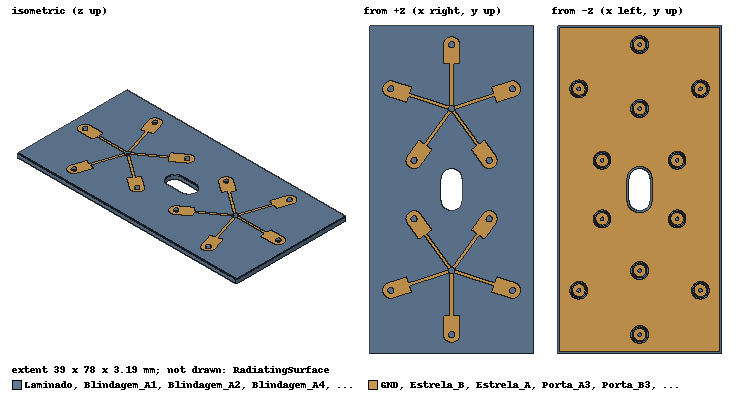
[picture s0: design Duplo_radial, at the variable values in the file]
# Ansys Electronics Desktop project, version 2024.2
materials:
  vacuum: permittivity=1
  ZYF300CA_P: permittivity=3 dielectric_loss_tangent=0.0018
  SAC305: permeability=1 conductivity=7575758
  PTFE_UT141: permittivity=2.036 dielectric_loss_tangent=0.0002
  copper: permeability=0.999991 conductivity=58000000

design Duplo_radial (HFSS, HFSS Hybrid Modal Network, model units mm)
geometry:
  Laminado [ZYF300CA_P] = box(corner=(-19.5mm, -39mm, 0mm), size=(39mm, 78mm, 1.52mm))
  GND = polyline(z=0mm, xy in mm: (-18.98, -38.48) (18.98, -38.48) (18.98, 38.48) (-18.98, 38.48) (-18.98, -38.48), closed, covered)
  Estrela_B = polyline(z=1.52mm, xy in mm: (-7.97933583, 5.29883316) (-8.20341048, 5.18833178) (-8.43999146, 5.10802336) (-8.68503081, 5.059282) (-8.93433583, 5.04294169) (-9.18364086, 5.059282) (-9.42868021, 5.10802336) (-9.66526119, 5.18833178) (-9.88933583, 5.29883316) (-10.09707016, 5.43763681) (-10.28490979, 5.60236773) (-10.44964071, 5.79020736) (-10.58844436, 5.99794169) (-10.69894574, 6.22201633) (-10.77925416, 6.45859731) (-10.82799552, 6.70363666) (-10.84433583, 6.95294169) (-10.82799552, 7.20224671) (-10.77925416, 7.44728606) (-10.69894574, 7.68386704) (-10.58844436, 7.90794169) (-10.47743953, 8.07407215) (-10.47955829, 8.07561152) (-7.79220412, 11.77443722) (-6.54146385, 10.86572122) (-0.7518818, 18.83439728) (-0.7945364, 18.92089225) (-0.83069621, 19.02741562) (-0.85264258, 19.13774747) (-0.85308194, 19.14445088) (-10.22031084, 22.18804804) (-10.69805111, 20.71771467) (-15.04628151, 22.13054037) (-15.04506826, 22.13427437) (-15.1869844, 22.18244841) (-15.41105905, 22.29294979) (-15.61879338, 22.43175343) (-15.806633, 22.59648436) (-15.97136393, 22.78432399) (-16.11016757, 22.99205831) (-16.22066895, 23.21613296) (-16.30097738, 23.45271394) (-16.34971873, 23.69775329) (-16.36605905, 23.94705831) (-16.34971873, 24.19636334) (-16.30097738, 24.44140269) (-16.22066895, 24.67798367) (-16.11016757, 24.90205831) (-15.97136393, 25.10979264) (-15.806633, 25.29763227) (-15.61879338, 25.46236319) (-15.41105905, 25.60116684) (-15.1869844, 25.71166822) (-14.95040342, 25.79197664) (-14.70536407, 25.840718) (-14.45605905, 25.85705831) (-14.20675402, 25.840718) (-13.96171467, 25.79197664) (-13.86704984, 25.75984226) (-13.86583659, 25.76357626) (-9.5176062, 24.35075056) (-9.99534647, 22.88041719) (-0.62707992, 19.83648287) (-0.60811183, 19.85811183) (-0.52353483, 19.93228387) (-0.43, 19.99478185) (-0.364, 20.02732945) (-0.364, 29.878) (-1.91, 29.878) (-1.91, 34.45) (-1.89365969, 34.69930503) (-1.84491833, 34.94434438) (-1.76460991, 35.18092536) (-1.65410852, 35.405) (-1.51530488, 35.61273433) (-1.35057395, 35.80057395) (-1.16273433, 35.96530488) (-0.955, 36.10410852) (-0.73092536, 36.21460991) (-0.49434438, 36.29491833) (-0.24930503, 36.34365969) (0, 36.36) (0.24930503, 36.34365969) (0.49434438, 36.29491833) (0.73092536, 36.21460991) (0.955, 36.10410852) (1.16273433, 35.96530488) (1.35057395, 35.80057395) (1.51530488, 35.61273433) (1.65410852, 35.405) (1.76460991, 35.18092536) (1.84491833, 34.94434438) (1.89365969, 34.69930503) (1.91, 34.45) (1.91, 29.878) (0.364, 29.878) (0.364, 20.02732945) (0.43, 19.99478185) (0.52353483, 19.93228387) (0.60811183, 19.85811183) (0.62707992, 19.83648287) (9.99534647, 22.88041719) (9.5176062, 24.35075056) (13.86583659, 25.76357626) (13.86704984, 25.75984226) (13.96171467, 25.79197664) (14.20675402, 25.840718) (14.45605905, 25.85705831) (14.70536407, 25.840718) (14.95040342, 25.79197664) (15.1869844, 25.71166822) (15.41105905, 25.60116684) (15.61879338, 25.46236319) (15.806633, 25.29763227) (15.97136393, 25.10979264) (16.11016757, 24.90205831) (16.22066895, 24.67798367) (16.30097738, 24.44140269) (16.34971873, 24.19636334) (16.36605905, 23.94705831) (16.34971873, 23.69775329) (16.30097738, 23.45271394) (16.22066895, 23.21613296) (16.11016757, 22.99205831) (15.97136393, 22.78432399) (15.806633, 22.59648436) (15.61879338, 22.43175343) (15.41105905, 22.29294979) (15.1869844, 22.18244841) (15.04506826, 22.13427437) (15.04628151, 22.13054037) (10.69805111, 20.71771467) (10.22031084, 22.18804804) (0.85308194, 19.14445088) (0.85264258, 19.13774747) (0.83069621, 19.02741562) (0.7945364, 18.92089225) (0.7518818, 18.83439728) (6.54146385, 10.86572122) (7.79220412, 11.77443722) (10.47955829, 8.07561152) (10.47743953, 8.07407215) (10.58844436, 7.90794169) (10.69894574, 7.68386704) (10.77925416, 7.44728606) (10.82799552, 7.20224671) (10.84433583, 6.95294169) (10.82799552, 6.70363666) (10.77925416, 6.45859731) (10.69894574, 6.22201633) (10.58844436, 5.99794169) (10.44964071, 5.79020736) (10.28490979, 5.60236773) (10.09707016, 5.43763681) (9.88933583, 5.29883316) (9.66526119, 5.18833178) (9.42868021, 5.10802336) (9.18364086, 5.059282) (8.93433583, 5.04294169) (8.68503081, 5.059282) (8.43999146, 5.10802336) (8.20341048, 5.18833178) (7.97933583, 5.29883316) (7.77160151, 5.43763681) (7.58376188, 5.60236773) (7.41903095, 5.79020736) (7.39123214, 5.83181122) (7.38911338, 5.83027185) (4.7017592, 9.52909755) (5.95249948, 10.43781355) (0.1623171, 18.40731588) (0.11225253, 18.39735742) (0, 18.39) (-0.11225253, 18.39735742) (-0.1623171, 18.40731588) (-5.95249948, 10.43781355) (-4.7017592, 9.52909755) (-7.38911338, 5.83027185) (-7.39123214, 5.83181122) (-7.41903095, 5.79020736) (-7.58376188, 5.60236773) (-7.77160151, 5.43763681) (-7.97933583, 5.29883316), closed, covered)
  Estrela_A = polyline(z=1.52mm, xy in mm: (-0.364, -20.02732945) (-0.43, -19.99478185) (-0.52353483, -19.93228387) (-0.60811183, -19.85811183) (-0.62707992, -19.83648287) (-9.99534647, -22.88041719) (-9.5176062, -24.35075056) (-13.86583659, -25.76357626) (-13.86704984, -25.75984226) (-13.96171467, -25.79197664) (-14.20675402, -25.840718) (-14.45605905, -25.85705831) (-14.70536407, -25.840718) (-14.95040342, -25.79197664) (-15.1869844, -25.71166822) (-15.41105905, -25.60116684) (-15.61879338, -25.46236319) (-15.806633, -25.29763227) (-15.97136393, -25.10979264) (-16.11016757, -24.90205831) (-16.22066895, -24.67798367) (-16.30097738, -24.44140269) (-16.34971873, -24.19636334) (-16.36605905, -23.94705831) (-16.34971873, -23.69775329) (-16.30097738, -23.45271394) (-16.22066895, -23.21613296) (-16.11016757, -22.99205831) (-15.97136393, -22.78432399) (-15.806633, -22.59648436) (-15.61879338, -22.43175343) (-15.41105905, -22.29294979) (-15.1869844, -22.18244841) (-15.04506826, -22.13427437) (-15.04628151, -22.13054037) (-10.69805111, -20.71771467) (-10.22031084, -22.18804804) (-0.85308194, -19.14445088) (-0.85264258, -19.13774747) (-0.83069621, -19.02741562) (-0.7945364, -18.92089225) (-0.7518818, -18.83439728) (-6.54146385, -10.86572122) (-7.79220412, -11.77443722) (-10.47955829, -8.07561152) (-10.47743953, -8.07407215) (-10.58844436, -7.90794169) (-10.69894574, -7.68386704) (-10.77925416, -7.44728606) (-10.82799552, -7.20224671) (-10.84433583, -6.95294169) (-10.82799552, -6.70363666) (-10.77925416, -6.45859731) (-10.69894574, -6.22201633) (-10.58844436, -5.99794169) (-10.44964071, -5.79020736) (-10.28490979, -5.60236773) (-10.09707016, -5.43763681) (-9.88933583, -5.29883316) (-9.66526119, -5.18833178) (-9.42868021, -5.10802336) (-9.18364086, -5.059282) (-8.93433583, -5.04294169) (-8.68503081, -5.059282) (-8.43999146, -5.10802336) (-8.20341048, -5.18833178) (-7.97933583, -5.29883316) (-7.77160151, -5.43763681) (-7.58376188, -5.60236773) (-7.41903095, -5.79020736) (-7.39123214, -5.83181122) (-7.38911338, -5.83027185) (-4.7017592, -9.52909755) (-5.95249948, -10.43781355) (-0.1623171, -18.40731588) (-0.11225253, -18.39735742) (0, -18.39) (0.11225253, -18.39735742) (0.1623171, -18.40731588) (5.95249948, -10.43781355) (4.7017592, -9.52909755) (7.38911338, -5.83027185) (7.39123214, -5.83181122) (7.41903095, -5.79020736) (7.58376188, -5.60236773) (7.77160151, -5.43763681) (7.97933583, -5.29883316) (8.20341048, -5.18833178) (8.43999146, -5.10802336) (8.68503081, -5.059282) (8.93433583, -5.04294169) (9.18364086, -5.059282) (9.42868021, -5.10802336) (9.66526119, -5.18833178) (9.88933583, -5.29883316) (10.09707016, -5.43763681) (10.28490979, -5.60236773) (10.44964071, -5.79020736) (10.58844436, -5.99794169) (10.69894574, -6.22201633) (10.77925416, -6.45859731) (10.82799552, -6.70363666) (10.84433583, -6.95294169) (10.82799552, -7.20224671) (10.77925416, -7.44728606) (10.69894574, -7.68386704) (10.58844436, -7.90794169) (10.47743953, -8.07407215) (10.47955829, -8.07561152) (7.79220412, -11.77443722) (6.54146385, -10.86572122) (0.7518818, -18.83439728) (0.7945364, -18.92089225) (0.83069621, -19.02741562) (0.85264258, -19.13774747) (0.85308194, -19.14445088) (10.22031084, -22.18804804) (10.69805111, -20.71771467) (15.04628151, -22.13054037) (15.04506826, -22.13427437) (15.1869844, -22.18244841) (15.41105905, -22.29294979) (15.61879338, -22.43175343) (15.806633, -22.59648436) (15.97136393, -22.78432399) (16.11016757, -22.99205831) (16.22066895, -23.21613296) (16.30097738, -23.45271394) (16.34971873, -23.69775329) (16.36605905, -23.94705831) (16.34971873, -24.19636334) (16.30097738, -24.44140269) (16.22066895, -24.67798367) (16.11016757, -24.90205831) (15.97136393, -25.10979264) (15.806633, -25.29763227) (15.61879338, -25.46236319) (15.41105905, -25.60116684) (15.1869844, -25.71166822) (14.95040342, -25.79197664) (14.70536407, -25.840718) (14.45605905, -25.85705831) (14.20675402, -25.840718) (13.96171467, -25.79197664) (13.86704984, -25.75984226) (13.86583659, -25.76357626) (9.5176062, -24.35075056) (9.99534647, -22.88041719) (0.62707992, -19.83648287) (0.60811183, -19.85811183) (0.52353483, -19.93228387) (0.43, -19.99478185) (0.364, -20.02732945) (0.364, -29.878) (1.91, -29.878) (1.91, -34.45) (1.89365969, -34.69930503) (1.84491833, -34.94434438) (1.76460991, -35.18092536) (1.65410852, -35.405) (1.51530488, -35.61273433) (1.35057395, -35.80057395) (1.16273433, -35.96530488) (0.955, -36.10410852) (0.73092536, -36.21460991) (0.49434438, -36.29491833) (0.24930503, -36.34365969) (0, -36.36) (-0.24930503, -36.34365969) (-0.49434438, -36.29491833) (-0.73092536, -36.21460991) (-0.955, -36.10410852) (-1.16273433, -35.96530488) (-1.35057395, -35.80057395) (-1.51530488, -35.61273433) (-1.65410852, -35.405) (-1.76460991, -35.18092536) (-1.84491833, -34.94434438) (-1.89365969, -34.69930503) (-1.91, -34.45) (-1.91, -29.878) (-0.364, -29.878) (-0.364, -20.02732945), closed, covered)
  Abertura_A_IN = circle(normal=Z, centre=(0mm, -19.25mm, 0mm), radius=1.515mm, segments=24)
  Pino_A_IN [copper] = cylinder(axis=Z, base_centre=(0mm, -19.25mm, 0mm), radius=0.525mm, height=1.52mm, segments=24)
  Anel_A_IN = circle(normal=Z, centre=(0mm, -19.25mm, 0mm), radius=0.73mm, segments=24)
  Blindagem_A_IN [copper] = cylinder(axis=Z, base_centre=(0mm, -19.25mm, -1.5mm), radius=1.7905mm, height=1.5mm, segments=24)
  PTFE_A_IN [PTFE_UT141] = cylinder(axis=Z, base_centre=(0mm, -19.25mm, -1.5mm), radius=1.515mm, height=1.5mm, segments=24)
  PTFE_A_IN_1 = PTFE_A_IN.copy()
  Blindagem_A_IN.subtract(PTFE_A_IN_1)
  Central_A_IN [copper] = cylinder(axis=Z, base_centre=(0mm, -19.25mm, -1.5mm), radius=0.45975mm, height=1.5mm, segments=24)
  Central_A_IN_1 = Central_A_IN.copy()
  PTFE_A_IN.subtract(Central_A_IN_1)
  Solda_ext_A_IN [SAC305] = cylinder(axis=Z, base_centre=(0mm, -19.25mm, -0.18mm), radius=2.13mm, height=0.18mm, segments=24)
  Recorte_ext_A_IN = cylinder(axis=Z, base_centre=(0mm, -19.25mm, -0.18mm), radius=1.7905mm, height=0.18mm, segments=24)
  Solda_ext_A_IN.subtract(Recorte_ext_A_IN)
  Solda_top_A_IN [SAC305] = cylinder(axis=Z, base_centre=(0mm, -19.25mm, 1.52mm), radius=0.74mm, height=0.17mm, segments=24)
  Abertura_A1 = circle(normal=Z, centre=(-14.45605905mm, -23.94705831mm, 0mm), radius=1.515mm, segments=24)
  Pino_A1 [copper] = cylinder(axis=Z, base_centre=(-14.45605905mm, -23.94705831mm, 0mm), radius=0.525mm, height=1.52mm, segments=24)
  Anel_A1 = circle(normal=Z, centre=(-14.45605905mm, -23.94705831mm, 0mm), radius=0.73mm, segments=24)
  Blindagem_A1 [copper] = cylinder(axis=Z, base_centre=(-14.45605905mm, -23.94705831mm, -1.5mm), radius=1.7905mm, height=1.5mm, segments=24)
  PTFE_A1 [PTFE_UT141] = cylinder(axis=Z, base_centre=(-14.45605905mm, -23.94705831mm, -1.5mm), radius=1.515mm, height=1.5mm, segments=24)
  PTFE_A1_1 = PTFE_A1.copy()
  Blindagem_A1.subtract(PTFE_A1_1)
  Central_A1 [copper] = cylinder(axis=Z, base_centre=(-14.45605905mm, -23.94705831mm, -1.5mm), radius=0.45975mm, height=1.5mm, segments=24)
  Central_A1_1 = Central_A1.copy()
  PTFE_A1.subtract(Central_A1_1)
  Solda_ext_A1 [SAC305] = cylinder(axis=Z, base_centre=(-14.45605905mm, -23.94705831mm, -0.18mm), radius=2.13mm, height=0.18mm, segments=24)
  Recorte_ext_A1 = cylinder(axis=Z, base_centre=(-14.45605905mm, -23.94705831mm, -0.18mm), radius=1.7905mm, height=0.18mm, segments=24)
  Solda_ext_A1.subtract(Recorte_ext_A1)
  Solda_top_A1 [SAC305] = cylinder(axis=Z, base_centre=(-14.45605905mm, -23.94705831mm, 1.52mm), radius=0.74mm, height=0.17mm, segments=24)
  Abertura_A2 = circle(normal=Z, centre=(-8.93433583mm, -6.95294169mm, 0mm), radius=1.515mm, segments=24)
  Pino_A2 [copper] = cylinder(axis=Z, base_centre=(-8.93433583mm, -6.95294169mm, 0mm), radius=0.525mm, height=1.52mm, segments=24)
  Anel_A2 = circle(normal=Z, centre=(-8.93433583mm, -6.95294169mm, 0mm), radius=0.73mm, segments=24)
  Blindagem_A2 [copper] = cylinder(axis=Z, base_centre=(-8.93433583mm, -6.95294169mm, -1.5mm), radius=1.7905mm, height=1.5mm, segments=24)
  PTFE_A2 [PTFE_UT141] = cylinder(axis=Z, base_centre=(-8.93433583mm, -6.95294169mm, -1.5mm), radius=1.515mm, height=1.5mm, segments=24)
  PTFE_A2_1 = PTFE_A2.copy()
  Blindagem_A2.subtract(PTFE_A2_1)
  Central_A2 [copper] = cylinder(axis=Z, base_centre=(-8.93433583mm, -6.95294169mm, -1.5mm), radius=0.45975mm, height=1.5mm, segments=24)
  Central_A2_1 = Central_A2.copy()
  PTFE_A2.subtract(Central_A2_1)
  Solda_ext_A2 [SAC305] = cylinder(axis=Z, base_centre=(-8.93433583mm, -6.95294169mm, -0.18mm), radius=2.13mm, height=0.18mm, segments=24)
  Recorte_ext_A2 = cylinder(axis=Z, base_centre=(-8.93433583mm, -6.95294169mm, -0.18mm), radius=1.7905mm, height=0.18mm, segments=24)
  Solda_ext_A2.subtract(Recorte_ext_A2)
  Solda_top_A2 [SAC305] = cylinder(axis=Z, base_centre=(-8.93433583mm, -6.95294169mm, 1.52mm), radius=0.74mm, height=0.17mm, segments=24)
  Abertura_A3 = circle(normal=Z, centre=(0mm, -34.45mm, 0mm), radius=1.515mm, segments=24)
  Pino_A3 [copper] = cylinder(axis=Z, base_centre=(0mm, -34.45mm, 0mm), radius=0.525mm, height=1.52mm, segments=24)
  Anel_A3 = circle(normal=Z, centre=(0mm, -34.45mm, 0mm), radius=0.73mm, segments=24)
  Blindagem_A3 [copper] = cylinder(axis=Z, base_centre=(0mm, -34.45mm, -1.5mm), radius=1.7905mm, height=1.5mm, segments=24)
  PTFE_A3 [PTFE_UT141] = cylinder(axis=Z, base_centre=(0mm, -34.45mm, -1.5mm), radius=1.515mm, height=1.5mm, segments=24)
  PTFE_A3_1 = PTFE_A3.copy()
  Blindagem_A3.subtract(PTFE_A3_1)
  Central_A3 [copper] = cylinder(axis=Z, base_centre=(0mm, -34.45mm, -1.5mm), radius=0.45975mm, height=1.5mm, segments=24)
  Central_A3_1 = Central_A3.copy()
  PTFE_A3.subtract(Central_A3_1)
  Solda_ext_A3 [SAC305] = cylinder(axis=Z, base_centre=(0mm, -34.45mm, -0.18mm), radius=2.13mm, height=0.18mm, segments=24)
  Recorte_ext_A3 = cylinder(axis=Z, base_centre=(0mm, -34.45mm, -0.18mm), radius=1.7905mm, height=0.18mm, segments=24)
  Solda_ext_A3.subtract(Recorte_ext_A3)
  Solda_top_A3 [SAC305] = cylinder(axis=Z, base_centre=(0mm, -34.45mm, 1.52mm), radius=0.74mm, height=0.17mm, segments=24)
  Abertura_A4 = circle(normal=Z, centre=(8.93433583mm, -6.95294169mm, 0mm), radius=1.515mm, segments=24)
  Pino_A4 [copper] = cylinder(axis=Z, base_centre=(8.93433583mm, -6.95294169mm, 0mm), radius=0.525mm, height=1.52mm, segments=24)
  Anel_A4 = circle(normal=Z, centre=(8.93433583mm, -6.95294169mm, 0mm), radius=0.73mm, segments=24)
  Blindagem_A4 [copper] = cylinder(axis=Z, base_centre=(8.93433583mm, -6.95294169mm, -1.5mm), radius=1.7905mm, height=1.5mm, segments=24)
  PTFE_A4 [PTFE_UT141] = cylinder(axis=Z, base_centre=(8.93433583mm, -6.95294169mm, -1.5mm), radius=1.515mm, height=1.5mm, segments=24)
  PTFE_A4_1 = PTFE_A4.copy()
  Blindagem_A4.subtract(PTFE_A4_1)
  Central_A4 [copper] = cylinder(axis=Z, base_centre=(8.93433583mm, -6.95294169mm, -1.5mm), radius=0.45975mm, height=1.5mm, segments=24)
  Central_A4_1 = Central_A4.copy()
  PTFE_A4.subtract(Central_A4_1)
  Solda_ext_A4 [SAC305] = cylinder(axis=Z, base_centre=(8.93433583mm, -6.95294169mm, -0.18mm), radius=2.13mm, height=0.18mm, segments=24)
  Recorte_ext_A4 = cylinder(axis=Z, base_centre=(8.93433583mm, -6.95294169mm, -0.18mm), radius=1.7905mm, height=0.18mm, segments=24)
  Solda_ext_A4.subtract(Recorte_ext_A4)
  Solda_top_A4 [SAC305] = cylinder(axis=Z, base_centre=(8.93433583mm, -6.95294169mm, 1.52mm), radius=0.74mm, height=0.17mm, segments=24)
  Abertura_A5 = circle(normal=Z, centre=(14.45605905mm, -23.94705831mm, 0mm), radius=1.515mm, segments=24)
  Pino_A5 [copper] = cylinder(axis=Z, base_centre=(14.45605905mm, -23.94705831mm, 0mm), radius=0.525mm, height=1.52mm, segments=24)
  Anel_A5 = circle(normal=Z, centre=(14.45605905mm, -23.94705831mm, 0mm), radius=0.73mm, segments=24)
  Blindagem_A5 [copper] = cylinder(axis=Z, base_centre=(14.45605905mm, -23.94705831mm, -1.5mm), radius=1.7905mm, height=1.5mm, segments=24)
  PTFE_A5 [PTFE_UT141] = cylinder(axis=Z, base_centre=(14.45605905mm, -23.94705831mm, -1.5mm), radius=1.515mm, height=1.5mm, segments=24)
  PTFE_A5_1 = PTFE_A5.copy()
  Blindagem_A5.subtract(PTFE_A5_1)
  Central_A5 [copper] = cylinder(axis=Z, base_centre=(14.45605905mm, -23.94705831mm, -1.5mm), radius=0.45975mm, height=1.5mm, segments=24)
  Central_A5_1 = Central_A5.copy()
  PTFE_A5.subtract(Central_A5_1)
  Solda_ext_A5 [SAC305] = cylinder(axis=Z, base_centre=(14.45605905mm, -23.94705831mm, -0.18mm), radius=2.13mm, height=0.18mm, segments=24)
  Recorte_ext_A5 = cylinder(axis=Z, base_centre=(14.45605905mm, -23.94705831mm, -0.18mm), radius=1.7905mm, height=0.18mm, segments=24)
  Solda_ext_A5.subtract(Recorte_ext_A5)
  Solda_top_A5 [SAC305] = cylinder(axis=Z, base_centre=(14.45605905mm, -23.94705831mm, 1.52mm), radius=0.74mm, height=0.17mm, segments=24)
  Abertura_B_IN = circle(normal=Z, centre=(0mm, 19.25mm, 0mm), radius=1.515mm, segments=24)
  Pino_B_IN [copper] = cylinder(axis=Z, base_centre=(0mm, 19.25mm, 0mm), radius=0.525mm, height=1.52mm, segments=24)
  Anel_B_IN = circle(normal=Z, centre=(0mm, 19.25mm, 0mm), radius=0.73mm, segments=24)
  Blindagem_B_IN [copper] = cylinder(axis=Z, base_centre=(0mm, 19.25mm, -1.5mm), radius=1.7905mm, height=1.5mm, segments=24)
  PTFE_B_IN [PTFE_UT141] = cylinder(axis=Z, base_centre=(0mm, 19.25mm, -1.5mm), radius=1.515mm, height=1.5mm, segments=24)
  PTFE_B_IN_1 = PTFE_B_IN.copy()
  Blindagem_B_IN.subtract(PTFE_B_IN_1)
  Central_B_IN [copper] = cylinder(axis=Z, base_centre=(0mm, 19.25mm, -1.5mm), radius=0.45975mm, height=1.5mm, segments=24)
  Central_B_IN_1 = Central_B_IN.copy()
  PTFE_B_IN.subtract(Central_B_IN_1)
  Solda_ext_B_IN [SAC305] = cylinder(axis=Z, base_centre=(0mm, 19.25mm, -0.18mm), radius=2.13mm, height=0.18mm, segments=24)
  Recorte_ext_B_IN = cylinder(axis=Z, base_centre=(0mm, 19.25mm, -0.18mm), radius=1.7905mm, height=0.18mm, segments=24)
  Solda_ext_B_IN.subtract(Recorte_ext_B_IN)
  Solda_top_B_IN [SAC305] = cylinder(axis=Z, base_centre=(0mm, 19.25mm, 1.52mm), radius=0.74mm, height=0.17mm, segments=24)
  Abertura_B1 = circle(normal=Z, centre=(-14.45605905mm, 23.94705831mm, 0mm), radius=1.515mm, segments=24)
  Pino_B1 [copper] = cylinder(axis=Z, base_centre=(-14.45605905mm, 23.94705831mm, 0mm), radius=0.525mm, height=1.52mm, segments=24)
  Anel_B1 = circle(normal=Z, centre=(-14.45605905mm, 23.94705831mm, 0mm), radius=0.73mm, segments=24)
  Blindagem_B1 [copper] = cylinder(axis=Z, base_centre=(-14.45605905mm, 23.94705831mm, -1.5mm), radius=1.7905mm, height=1.5mm, segments=24)
  PTFE_B1 [PTFE_UT141] = cylinder(axis=Z, base_centre=(-14.45605905mm, 23.94705831mm, -1.5mm), radius=1.515mm, height=1.5mm, segments=24)
  PTFE_B1_1 = PTFE_B1.copy()
  Blindagem_B1.subtract(PTFE_B1_1)
  Central_B1 [copper] = cylinder(axis=Z, base_centre=(-14.45605905mm, 23.94705831mm, -1.5mm), radius=0.45975mm, height=1.5mm, segments=24)
  Central_B1_1 = Central_B1.copy()
  PTFE_B1.subtract(Central_B1_1)
  Solda_ext_B1 [SAC305] = cylinder(axis=Z, base_centre=(-14.45605905mm, 23.94705831mm, -0.18mm), radius=2.13mm, height=0.18mm, segments=24)
  Recorte_ext_B1 = cylinder(axis=Z, base_centre=(-14.45605905mm, 23.94705831mm, -0.18mm), radius=1.7905mm, height=0.18mm, segments=24)
  Solda_ext_B1.subtract(Recorte_ext_B1)
  Solda_top_B1 [SAC305] = cylinder(axis=Z, base_centre=(-14.45605905mm, 23.94705831mm, 1.52mm), radius=0.74mm, height=0.17mm, segments=24)
  Abertura_B2 = circle(normal=Z, centre=(-8.93433583mm, 6.95294169mm, 0mm), radius=1.515mm, segments=24)
  Pino_B2 [copper] = cylinder(axis=Z, base_centre=(-8.93433583mm, 6.95294169mm, 0mm), radius=0.525mm, height=1.52mm, segments=24)
  Anel_B2 = circle(normal=Z, centre=(-8.93433583mm, 6.95294169mm, 0mm), radius=0.73mm, segments=24)
  Blindagem_B2 [copper] = cylinder(axis=Z, base_centre=(-8.93433583mm, 6.95294169mm, -1.5mm), radius=1.7905mm, height=1.5mm, segments=24)
  PTFE_B2 [PTFE_UT141] = cylinder(axis=Z, base_centre=(-8.93433583mm, 6.95294169mm, -1.5mm), radius=1.515mm, height=1.5mm, segments=24)
  PTFE_B2_1 = PTFE_B2.copy()
  Blindagem_B2.subtract(PTFE_B2_1)
  Central_B2 [copper] = cylinder(axis=Z, base_centre=(-8.93433583mm, 6.95294169mm, -1.5mm), radius=0.45975mm, height=1.5mm, segments=24)
  Central_B2_1 = Central_B2.copy()
  PTFE_B2.subtract(Central_B2_1)
  Solda_ext_B2 [SAC305] = cylinder(axis=Z, base_centre=(-8.93433583mm, 6.95294169mm, -0.18mm), radius=2.13mm, height=0.18mm, segments=24)
  Recorte_ext_B2 = cylinder(axis=Z, base_centre=(-8.93433583mm, 6.95294169mm, -0.18mm), radius=1.7905mm, height=0.18mm, segments=24)
  Solda_ext_B2.subtract(Recorte_ext_B2)
  Solda_top_B2 [SAC305] = cylinder(axis=Z, base_centre=(-8.93433583mm, 6.95294169mm, 1.52mm), radius=0.74mm, height=0.17mm, segments=24)
  Abertura_B3 = circle(normal=Z, centre=(0mm, 34.45mm, 0mm), radius=1.515mm, segments=24)
  Pino_B3 [copper] = cylinder(axis=Z, base_centre=(0mm, 34.45mm, 0mm), radius=0.525mm, height=1.52mm, segments=24)
  Anel_B3 = circle(normal=Z, centre=(0mm, 34.45mm, 0mm), radius=0.73mm, segments=24)
  Blindagem_B3 [copper] = cylinder(axis=Z, base_centre=(0mm, 34.45mm, -1.5mm), radius=1.7905mm, height=1.5mm, segments=24)
  PTFE_B3 [PTFE_UT141] = cylinder(axis=Z, base_centre=(0mm, 34.45mm, -1.5mm), radius=1.515mm, height=1.5mm, segments=24)
  PTFE_B3_1 = PTFE_B3.copy()
  Blindagem_B3.subtract(PTFE_B3_1)
  Central_B3 [copper] = cylinder(axis=Z, base_centre=(0mm, 34.45mm, -1.5mm), radius=0.45975mm, height=1.5mm, segments=24)
  Central_B3_1 = Central_B3.copy()
  PTFE_B3.subtract(Central_B3_1)
  Solda_ext_B3 [SAC305] = cylinder(axis=Z, base_centre=(0mm, 34.45mm, -0.18mm), radius=2.13mm, height=0.18mm, segments=24)
  Recorte_ext_B3 = cylinder(axis=Z, base_centre=(0mm, 34.45mm, -0.18mm), radius=1.7905mm, height=0.18mm, segments=24)
  Solda_ext_B3.subtract(Recorte_ext_B3)
  Solda_top_B3 [SAC305] = cylinder(axis=Z, base_centre=(0mm, 34.45mm, 1.52mm), radius=0.74mm, height=0.17mm, segments=24)
  Abertura_B4 = circle(normal=Z, centre=(8.93433583mm, 6.95294169mm, 0mm), radius=1.515mm, segments=24)
  Pino_B4 [copper] = cylinder(axis=Z, base_centre=(8.93433583mm, 6.95294169mm, 0mm), radius=0.525mm, height=1.52mm, segments=24)
  Anel_B4 = circle(normal=Z, centre=(8.93433583mm, 6.95294169mm, 0mm), radius=0.73mm, segments=24)
  Blindagem_B4 [copper] = cylinder(axis=Z, base_centre=(8.93433583mm, 6.95294169mm, -1.5mm), radius=1.7905mm, height=1.5mm, segments=24)
  PTFE_B4 [PTFE_UT141] = cylinder(axis=Z, base_centre=(8.93433583mm, 6.95294169mm, -1.5mm), radius=1.515mm, height=1.5mm, segments=24)
  PTFE_B4_1 = PTFE_B4.copy()
  Blindagem_B4.subtract(PTFE_B4_1)
  Central_B4 [copper] = cylinder(axis=Z, base_centre=(8.93433583mm, 6.95294169mm, -1.5mm), radius=0.45975mm, height=1.5mm, segments=24)
  Central_B4_1 = Central_B4.copy()
  PTFE_B4.subtract(Central_B4_1)
  Solda_ext_B4 [SAC305] = cylinder(axis=Z, base_centre=(8.93433583mm, 6.95294169mm, -0.18mm), radius=2.13mm, height=0.18mm, segments=24)
  Recorte_ext_B4 = cylinder(axis=Z, base_centre=(8.93433583mm, 6.95294169mm, -0.18mm), radius=1.7905mm, height=0.18mm, segments=24)
  Solda_ext_B4.subtract(Recorte_ext_B4)
  Solda_top_B4 [SAC305] = cylinder(axis=Z, base_centre=(8.93433583mm, 6.95294169mm, 1.52mm), radius=0.74mm, height=0.17mm, segments=24)
  Abertura_B5 = circle(normal=Z, centre=(14.45605905mm, 23.94705831mm, 0mm), radius=1.515mm, segments=24)
  Pino_B5 [copper] = cylinder(axis=Z, base_centre=(14.45605905mm, 23.94705831mm, 0mm), radius=0.525mm, height=1.52mm, segments=24)
  Anel_B5 = circle(normal=Z, centre=(14.45605905mm, 23.94705831mm, 0mm), radius=0.73mm, segments=24)
  Blindagem_B5 [copper] = cylinder(axis=Z, base_centre=(14.45605905mm, 23.94705831mm, -1.5mm), radius=1.7905mm, height=1.5mm, segments=24)
  PTFE_B5 [PTFE_UT141] = cylinder(axis=Z, base_centre=(14.45605905mm, 23.94705831mm, -1.5mm), radius=1.515mm, height=1.5mm, segments=24)
  PTFE_B5_1 = PTFE_B5.copy()
  Blindagem_B5.subtract(PTFE_B5_1)
  Central_B5 [copper] = cylinder(axis=Z, base_centre=(14.45605905mm, 23.94705831mm, -1.5mm), radius=0.45975mm, height=1.5mm, segments=24)
  Central_B5_1 = Central_B5.copy()
  PTFE_B5.subtract(Central_B5_1)
  Solda_ext_B5 [SAC305] = cylinder(axis=Z, base_centre=(14.45605905mm, 23.94705831mm, -0.18mm), radius=2.13mm, height=0.18mm, segments=24)
  Recorte_ext_B5 = cylinder(axis=Z, base_centre=(14.45605905mm, 23.94705831mm, -0.18mm), radius=1.7905mm, height=0.18mm, segments=24)
  Solda_ext_B5.subtract(Recorte_ext_B5)
  Solda_top_B5 [SAC305] = cylinder(axis=Z, base_centre=(14.45605905mm, 23.94705831mm, 1.52mm), radius=0.74mm, height=0.17mm, segments=24)
  GND.subtract(Abertura_A_IN, Abertura_A1..Abertura_A5, Abertura_B_IN, Abertura_B1..Abertura_B5)
  Pino_A_IN_1 = Pino_A_IN.copy()
  Pino_A1_1 = Pino_A1.copy()
  Pino_A2_1 = Pino_A2.copy()
  Pino_A3_1 = Pino_A3.copy()
  Pino_A4_1 = Pino_A4.copy()
  Pino_A5_1 = Pino_A5.copy()
  Pino_B_IN_1 = Pino_B_IN.copy()
  Pino_B1_1 = Pino_B1.copy()
  Pino_B2_1 = Pino_B2.copy()
  Pino_B3_1 = Pino_B3.copy()
  Pino_B4_1 = Pino_B4.copy()
  Pino_B5_1 = Pino_B5.copy()
  Laminado.subtract(Pino_A_IN_1, Pino_A1_1, Pino_A2_1, Pino_A3_1, Pino_A4_1, Pino_A5_1, Pino_B_IN_1, Pino_B1_1, Pino_B2_1, Pino_B3_1, Pino_B4_1, Pino_B5_1)
  Canal_mecanico = polyline(z=0mm, xy in mm: (-2.5, 2.50916841) (-2.48796182, 2.75421126) (-2.4519632, 2.99689422) (-2.39235084, 3.23488011) (-2.30969883, 3.46587699) (-2.20480316, 3.68766026) (-2.07867403, 3.898094) (-1.93252613, 4.09515162) (-1.76776695, 4.27693537) (-1.58598321, 4.44169455) (-1.38892558, 4.58784244) (-1.17849184, 4.71397157) (-0.95670858, 4.81886724) (-0.72571169, 4.90151925) (-0.48772581, 4.96113161) (-0.24504285, 4.99713023) (0, 5.00916841) (0.24504285, 4.99713023) (0.48772581, 4.96113161) (0.72571169, 4.90151925) (0.95670858, 4.81886724) (1.17849184, 4.71397157) (1.38892558, 4.58784244) (1.58598321, 4.44169455) (1.76776695, 4.27693537) (1.93252613, 4.09515162) (2.07867403, 3.898094) (2.20480316, 3.68766026) (2.30969883, 3.46587699) (2.39235084, 3.23488011) (2.4519632, 2.99689422) (2.48796182, 2.75421126) (2.5, 2.50916841) (2.5, -2.50916841) (2.48796182, -2.75421126) (2.4519632, -2.99689422) (2.39235084, -3.23488011) (2.30969883, -3.46587699) (2.20480316, -3.68766026) (2.07867403, -3.898094) (1.93252613, -4.09515162) (1.76776695, -4.27693537) (1.58598321, -4.44169455) (1.38892558, -4.58784244) (1.17849184, -4.71397157) (0.95670858, -4.81886724) (0.72571169, -4.90151925) (0.48772581, -4.96113161) (0.24504285, -4.99713023) (0, -5.00916841) (-0.24504285, -4.99713023) (-0.48772581, -4.96113161) (-0.72571169, -4.90151925) (-0.95670858, -4.81886724) (-1.17849184, -4.71397157) (-1.38892558, -4.58784244) (-1.58598321, -4.44169455) (-1.76776695, -4.27693537) (-1.93252613, -4.09515162) (-2.07867403, -3.898094) (-2.20480316, -3.68766026) (-2.30969883, -3.46587699) (-2.39235084, -3.23488011) (-2.4519632, -2.99689422) (-2.48796182, -2.75421126) (-2.5, -2.50916841) (-2.5, 2.50916841), closed, covered)
  Canal_mecanico.sweep_along_vector((0mm, 0mm, 1.52mm))
  Laminado.subtract(Canal_mecanico)
  Folga_massa = polyline(z=0mm, xy in mm: (-3, 2.50916841) (-2.98555418, 2.80321983) (-2.94235584, 3.09443938) (-2.87082101, 3.38002244) (-2.7716386, 3.65721871) (-2.64576379, 3.92335862) (-2.49440884, 4.17587911) (-2.31903136, 4.41234827) (-2.12132034, 4.63048876) (-1.90317985, 4.82819977) (-1.6667107, 5.00357725) (-1.41419021, 5.15493221) (-1.1480503, 5.28080701) (-0.87085403, 5.37998942) (-0.58527097, 5.45152425) (-0.29405142, 5.49472259) (0, 5.50916841) (0.29405142, 5.49472259) (0.58527097, 5.45152425) (0.87085403, 5.37998942) (1.1480503, 5.28080701) (1.41419021, 5.15493221) (1.6667107, 5.00357725) (1.90317985, 4.82819977) (2.12132034, 4.63048876) (2.31903136, 4.41234827) (2.49440884, 4.17587911) (2.64576379, 3.92335862) (2.7716386, 3.65721871) (2.87082101, 3.38002244) (2.94235584, 3.09443938) (2.98555418, 2.80321983) (3, 2.50916841) (3, -2.50916841) (2.98555418, -2.80321983) (2.94235584, -3.09443938) (2.87082101, -3.38002244) (2.7716386, -3.65721871) (2.64576379, -3.92335862) (2.49440884, -4.17587911) (2.31903136, -4.41234827) (2.12132034, -4.63048876) (1.90317985, -4.82819977) (1.6667107, -5.00357725) (1.41419021, -5.15493221) (1.1480503, -5.28080701) (0.87085403, -5.37998942) (0.58527097, -5.45152425) (0.29405142, -5.49472259) (0, -5.50916841) (-0.29405142, -5.49472259) (-0.58527097, -5.45152425) (-0.87085403, -5.37998942) (-1.1480503, -5.28080701) (-1.41419021, -5.15493221) (-1.6667107, -5.00357725) (-1.90317985, -4.82819977) (-2.12132034, -4.63048876) (-2.31903136, -4.41234827) (-2.49440884, -4.17587911) (-2.64576379, -3.92335862) (-2.7716386, -3.65721871) (-2.87082101, -3.38002244) (-2.94235584, -3.09443938) (-2.98555418, -2.80321983) (-3, -2.50916841) (-3, 2.50916841), closed, covered)
  GND.subtract(Folga_massa)
  Porta_A_IN = circle(normal=Z, centre=(0mm, -19.25mm, -1.5mm), radius=1.515mm, segments=24)
  Buraco_A_IN = circle(normal=Z, centre=(0mm, -19.25mm, -1.5mm), radius=0.45975mm, segments=24)
  Porta_A_IN.subtract(Buraco_A_IN)
  Porta_A1 = circle(normal=Z, centre=(-14.45605905mm, -23.94705831mm, -1.5mm), radius=1.515mm, segments=24)
  Buraco_A1 = circle(normal=Z, centre=(-14.45605905mm, -23.94705831mm, -1.5mm), radius=0.45975mm, segments=24)
  Porta_A1.subtract(Buraco_A1)
  Porta_A2 = circle(normal=Z, centre=(-8.93433583mm, -6.95294169mm, -1.5mm), radius=1.515mm, segments=24)
  Buraco_A2 = circle(normal=Z, centre=(-8.93433583mm, -6.95294169mm, -1.5mm), radius=0.45975mm, segments=24)
  Porta_A2.subtract(Buraco_A2)
  Porta_A3 = circle(normal=Z, centre=(0mm, -34.45mm, -1.5mm), radius=1.515mm, segments=24)
  Buraco_A3 = circle(normal=Z, centre=(0mm, -34.45mm, -1.5mm), radius=0.45975mm, segments=24)
  Porta_A3.subtract(Buraco_A3)
  Porta_A4 = circle(normal=Z, centre=(8.93433583mm, -6.95294169mm, -1.5mm), radius=1.515mm, segments=24)
  Buraco_A4 = circle(normal=Z, centre=(8.93433583mm, -6.95294169mm, -1.5mm), radius=0.45975mm, segments=24)
  Porta_A4.subtract(Buraco_A4)
  Porta_A5 = circle(normal=Z, centre=(14.45605905mm, -23.94705831mm, -1.5mm), radius=1.515mm, segments=24)
  Buraco_A5 = circle(normal=Z, centre=(14.45605905mm, -23.94705831mm, -1.5mm), radius=0.45975mm, segments=24)
  Porta_A5.subtract(Buraco_A5)
  Porta_B_IN = circle(normal=Z, centre=(0mm, 19.25mm, -1.5mm), radius=1.515mm, segments=24)
  Buraco_B_IN = circle(normal=Z, centre=(0mm, 19.25mm, -1.5mm), radius=0.45975mm, segments=24)
  Porta_B_IN.subtract(Buraco_B_IN)
  Porta_B1 = circle(normal=Z, centre=(-14.45605905mm, 23.94705831mm, -1.5mm), radius=1.515mm, segments=24)
  Buraco_B1 = circle(normal=Z, centre=(-14.45605905mm, 23.94705831mm, -1.5mm), radius=0.45975mm, segments=24)
  Porta_B1.subtract(Buraco_B1)
  Porta_B2 = circle(normal=Z, centre=(-8.93433583mm, 6.95294169mm, -1.5mm), radius=1.515mm, segments=24)
  Buraco_B2 = circle(normal=Z, centre=(-8.93433583mm, 6.95294169mm, -1.5mm), radius=0.45975mm, segments=24)
  Porta_B2.subtract(Buraco_B2)
  Porta_B3 = circle(normal=Z, centre=(0mm, 34.45mm, -1.5mm), radius=1.515mm, segments=24)
  Buraco_B3 = circle(normal=Z, centre=(0mm, 34.45mm, -1.5mm), radius=0.45975mm, segments=24)
  Porta_B3.subtract(Buraco_B3)
  Porta_B4 = circle(normal=Z, centre=(8.93433583mm, 6.95294169mm, -1.5mm), radius=1.515mm, segments=24)
  Buraco_B4 = circle(normal=Z, centre=(8.93433583mm, 6.95294169mm, -1.5mm), radius=0.45975mm, segments=24)
  Porta_B4.subtract(Buraco_B4)
  Porta_B5 = circle(normal=Z, centre=(14.45605905mm, 23.94705831mm, -1.5mm), radius=1.515mm, segments=24)
  Buraco_B5 = circle(normal=Z, centre=(14.45605905mm, 23.94705831mm, -1.5mm), radius=0.45975mm, segments=24)
  Porta_B5.subtract(Buraco_B5)
  RadiatingSurface [vacuum] = region(absolute_offset=19.646365mm on all sides)
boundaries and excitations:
  Cobre_35um: Finite Conductivity Objects=[GND, Estrela_B, Estrela_A, Anel_A_IN, Anel_A1..Anel_A5, Anel_B_IN, Anel_B1..Anel_B5] UseMaterial Material=copper Thickness=0.035mm Roughness=0.5um IsInternal
  Open1: Radiation Objects=RadiatingSurface
  A_IN: Lumped Port Objects=Porta_A_IN LumpedPortType=Modal Modes{Mode1{IntLine{(0.45975, -19.25, -1.5) -> (1.515, -19.25, -1.5)} CharImp=Zpi RenormImp=50ohm}} Impedance=50ohm
  A1: Lumped Port Objects=Porta_A1 LumpedPortType=Modal Modes{Mode1{IntLine{(-13.99630905, -23.94705831, -1.5) -> (-12.94105905, -23.94705831, -1.5)} CharImp=Zpi RenormImp=50ohm}} Impedance=50ohm
  A2: Lumped Port Objects=Porta_A2 LumpedPortType=Modal Modes{Mode1{IntLine{(-8.47458583, -6.95294169, -1.5) -> (-7.41933583, -6.95294169, -1.5)} CharImp=Zpi RenormImp=50ohm}} Impedance=50ohm
  A3: Lumped Port Objects=Porta_A3 LumpedPortType=Modal Modes{Mode1{IntLine{(0.45975, -34.45, -1.5) -> (1.515, -34.45, -1.5)} CharImp=Zpi RenormImp=50ohm}} Impedance=50ohm
  A4: Lumped Port Objects=Porta_A4 LumpedPortType=Modal Modes{Mode1{IntLine{(9.39408583, -6.95294169, -1.5) -> (10.44933583, -6.95294169, -1.5)} CharImp=Zpi RenormImp=50ohm}} Impedance=50ohm
  A5: Lumped Port Objects=Porta_A5 LumpedPortType=Modal Modes{Mode1{IntLine{(14.91580905, -23.94705831, -1.5) -> (15.97105905, -23.94705831, -1.5)} CharImp=Zpi RenormImp=50ohm}} Impedance=50ohm
  B_IN: Lumped Port Objects=Porta_B_IN LumpedPortType=Modal Modes{Mode1{IntLine{(0.45975, 19.25, -1.5) -> (1.515, 19.25, -1.5)} CharImp=Zpi RenormImp=50ohm}} Impedance=50ohm
  B1: Lumped Port Objects=Porta_B1 LumpedPortType=Modal Modes{Mode1{IntLine{(-13.99630905, 23.94705831, -1.5) -> (-12.94105905, 23.94705831, -1.5)} CharImp=Zpi RenormImp=50ohm}} Impedance=50ohm
  B2: Lumped Port Objects=Porta_B2 LumpedPortType=Modal Modes{Mode1{IntLine{(-8.47458583, 6.95294169, -1.5) -> (-7.41933583, 6.95294169, -1.5)} CharImp=Zpi RenormImp=50ohm}} Impedance=50ohm
  B3: Lumped Port Objects=Porta_B3 LumpedPortType=Modal Modes{Mode1{IntLine{(0.45975, 34.45, -1.5) -> (1.515, 34.45, -1.5)} CharImp=Zpi RenormImp=50ohm}} Impedance=50ohm
  B4: Lumped Port Objects=Porta_B4 LumpedPortType=Modal Modes{Mode1{IntLine{(9.39408583, 6.95294169, -1.5) -> (10.44933583, 6.95294169, -1.5)} CharImp=Zpi RenormImp=50ohm}} Impedance=50ohm
  B5: Lumped Port Objects=Porta_B5 LumpedPortType=Modal Modes{Mode1{IntLine{(14.91580905, 23.94705831, -1.5) -> (15.97105905, 23.94705831, -1.5)} CharImp=Zpi RenormImp=50ohm}} Impedance=50ohm
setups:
  Divisor: HfssDriven Frequency=5.17GHz MaxDeltaS=0.012 MaximumPasses=16 MinimumPasses=3 MinimumConvergedPasses=2 PercentRefinement=24 BasisOrder=1 PortAccuracy=2 DrivenSolverType="Direct Solver"
    sweep Banda: 5090MHz to 5250MHz step 10MHz; Type=Discrete
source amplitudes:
  A_IN:1: 1W 0deg
  A1:1, A2:1, A3:1, A4:1, A5:1, B_IN:1, B1:1, B2:1, B3:1, B4:1, B5:1: 0W 0deg
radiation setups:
  3D: Infinite Sphere Theta=0deg..180deg step 2deg Phi=-180deg..180deg step 2deg
  Elevation: Infinite Sphere Theta=-180deg..180deg step 1deg Phi=0deg..90deg step 90deg
  Azimuth: Infinite Sphere Theta=90deg..90deg step 0deg Phi=-180deg..180deg step 1deg
